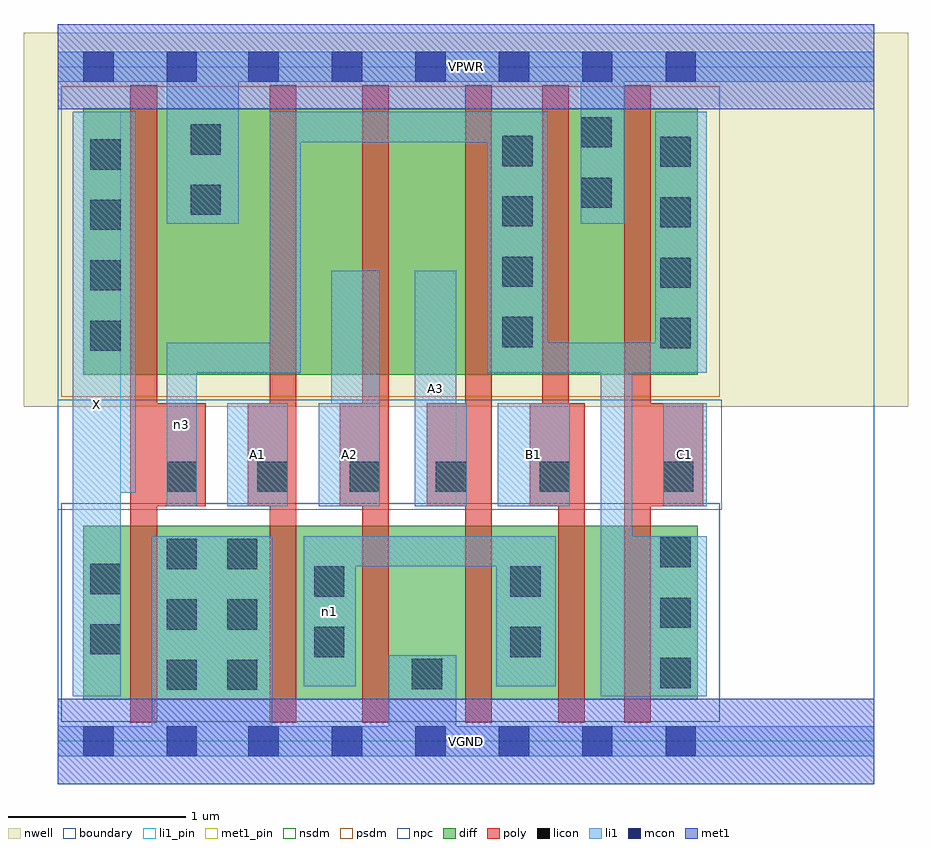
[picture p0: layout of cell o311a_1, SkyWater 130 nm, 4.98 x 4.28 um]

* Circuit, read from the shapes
.subckt o311a_1 A1 A2 A3 B1 C1 VGND VPWR X n1 n3
XM1 VGND n3 X VSUBS sky130_fd_pr__nfet_01v8 w=0.98 l=0.15
XM2 n1 A1 VGND VSUBS sky130_fd_pr__nfet_01v8 w=0.98 l=0.15
XM3 VGND A2 n1 VSUBS sky130_fd_pr__nfet_01v8 w=0.98 l=0.15
XM4 n1 A3 VGND VSUBS sky130_fd_pr__nfet_01v8 w=0.98 l=0.15
XM5 n2 B1 n1 VSUBS sky130_fd_pr__nfet_01v8 w=0.98 l=0.15
XM6 n3 C1 n2 VSUBS sky130_fd_pr__nfet_01v8 w=0.98 l=0.15
XM7 VPWR n3 X n4 sky130_fd_pr__pfet_01v8 w=1.5 l=0.15
XM8 n5 A1 VPWR n4 sky130_fd_pr__pfet_01v8 w=1.5 l=0.15
XM9 n6 A2 n5 n4 sky130_fd_pr__pfet_01v8 w=1.5 l=0.15
XM10 n3 A3 n6 n4 sky130_fd_pr__pfet_01v8 w=1.5 l=0.15
XM11 VPWR B1 n3 n4 sky130_fd_pr__pfet_01v8 w=1.5 l=0.15
XM12 n3 C1 VPWR n4 sky130_fd_pr__pfet_01v8 w=1.5 l=0.15
.ends

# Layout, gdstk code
import gdstk
lib = gdstk.Library(unit=1e-6, precision=1e-09)
def R(c, l, rs):  # rectangles x0, y0, x1, y1
    for r in rs: c.add(gdstk.rectangle(r[:2], r[2:], *l))
def A(c, l, x, y, w, h, nx, ny, dx, dy):  # array of equal rectangles
    R(c, l, [(x+i*dx, y+j*dy, x+i*dx+w, y+j*dy+h) for i in range(nx) for j in range(ny)])
nwell = (64, 20)
diff = (65, 20)
poly = (66, 20)
licon = (66, 44)
li1_pin = (67, 16)
li1 = (67, 20)
mcon = (67, 44)
met1_pin = (68, 16)
met1 = (68, 20)
nsdm = (93, 44)
psdm = (94, 20)
npc = (95, 20)
boundary = (235, 4)

o311a_1 = lib.new_cell('o311a_1')
R(o311a_1, nwell, [(-0.19,1.885,4.79,3.99), (0,1.885,4.6,3.99)])
R(o311a_1, diff, [(0.145,0.235,3.605,1.215), (0.145,2.065,3.605,3.565)])
R(o311a_1, poly, [(0.41,0.105,0.56,3.695), (1.195,0.105,1.345,3.695), (1.715,0.105,1.865,3.695), (2.295,0.105,2.445,3.695), (2.82,0.105,2.97,1.905), (3.19,0.105,3.34,3.695), (0.41,1.325,0.835,1.905), (1.07,1.325,1.345,1.905), (1.59,1.325,1.865,1.905), (2.08,1.325,2.445,1.905), (2.66,1.325,2.97,1.905), (2.73,1.325,2.88,3.695), (3.19,1.325,3.635,1.905)])
A(o311a_1, licon, 0.615, 0.29, 0.17, 0.17, 1, 3, 0, 0.34)
A(o311a_1, licon, 0.955, 0.29, 0.17, 0.17, 1, 3, 0, 0.34)
A(o311a_1, licon, 3.395, 0.3, 0.17, 0.17, 1, 3, 0, 0.34)
A(o311a_1, licon, 0.185, 2.2, 0.17, 0.17, 1, 4, 0, 0.34)
A(o311a_1, licon, 3.395, 2.215, 0.17, 0.17, 1, 4, 0, 0.34)
A(o311a_1, licon, 2.505, 2.22, 0.17, 0.17, 1, 4, 0, 0.34)
R(o311a_1, licon, [(1.995,0.295,2.165,0.465), (1.445,0.475,1.615,0.645), (2.55,0.475,2.72,0.645), (0.185,0.49,0.355,0.66), (1.445,0.815,1.615,0.985), (2.55,0.815,2.72,0.985), (0.185,0.83,0.355,1), (0.615,1.405,0.785,1.575), (1.125,1.405,1.295,1.575), (1.645,1.405,1.815,1.575), (2.13,1.405,2.3,1.575), (2.715,1.405,2.885,1.575), (3.41,1.405,3.58,1.575), (0.75,2.965,0.92,3.135), (2.95,3.005,3.12,3.175), (0.75,3.305,0.92,3.475), (2.95,3.345,3.12,3.515)])
R(o311a_1, li1_pin, [(0.085,0.255,0.355,3.545), (0.955,1.325,1.295,1.905), (1.47,1.325,1.815,1.905), (2.01,1.325,2.245,2.65), (2.48,1.325,2.885,1.905), (3.41,1.325,3.655,1.905)])
R(o311a_1, li1, [(0,-0.085,4.6,0.085), (0.53,-0.085,1.21,1.155), (1.865,-0.085,2.245,0.485), (0.085,0.255,0.355,3.545), (3.06,0.255,3.655,1.155), (3.06,0.255,3.235,2.245), (1.385,0.31,1.68,1.155), (2.47,0.31,2.805,1.155), (1.385,0.985,2.805,1.155), (0.615,1.325,0.785,2.245), (0.955,1.325,1.295,1.905), (1.47,1.325,1.815,1.905), (1.54,1.325,1.815,2.65), (2.01,1.325,2.245,2.65), (2.01,1.325,2.305,1.905), (2.48,1.325,2.885,1.905), (3.41,1.325,3.655,1.905), (0.085,1.4,0.44,3.545), (0.615,2.075,1.37,2.245), (1.195,2.075,1.37,3.545), (2.42,2.075,2.76,3.545), (2.42,2.075,3.655,2.245), (3.365,2.075,3.655,3.545), (0.615,2.915,1.02,3.885), (2.945,2.915,3.19,3.885), (1.195,3.375,2.76,3.545), (0,3.715,4.6,3.885)])
A(o311a_1, mcon, 1.075, -0.085, 0.17, 0.17, 6, 2, 0.47, 3.8)
R(o311a_1, mcon, [(0.145,-0.085,0.315,0.085), (0.615,-0.085,0.785,0.085), (0.145,3.715,0.315,3.885), (0.615,3.715,0.785,3.885)])
R(o311a_1, met1_pin, [(0,-0.24,4.6,0.24), (0,3.56,4.6,4.04)])
R(o311a_1, met1, [(0,-0.24,4.6,0.24), (0,3.56,4.6,4.04)])
R(o311a_1, nsdm, [(0.02,0.11,3.73,1.34)])
R(o311a_1, psdm, [(0.02,1.94,3.73,3.69)])
R(o311a_1, npc, [(0,1.305,3.74,1.925)])
R(o311a_1, boundary, [(0,0,4.6,3.8)])
o311a_1.add(gdstk.Label('A1', (1.125,1.615), layer=67, texttype=5))
o311a_1.add(gdstk.Label('A2', (1.642,1.615), layer=67, texttype=5))
o311a_1.add(gdstk.Label('A3', (2.127,1.987), layer=67, texttype=5))
o311a_1.add(gdstk.Label('B1', (2.682,1.615), layer=67, texttype=5))
o311a_1.add(gdstk.Label('C1', (3.532,1.615), layer=67, texttype=5))
o311a_1.add(gdstk.Label('X', (0.22,1.9), layer=67, texttype=5))
o311a_1.add(gdstk.Label('n1', (1.532,0.732), layer=67, texttype=5))
o311a_1.add(gdstk.Label('n3', (0.7,1.785), layer=67, texttype=5))
o311a_1.add(gdstk.Label('VPWR', (2.3,3.8), layer=68, texttype=5))
o311a_1.add(gdstk.Label('VGND', (2.3,0), layer=68, texttype=5))
o311a_1.add(gdstk.Label('A1', (1.125,1.615), layer=67, texttype=16))
o311a_1.add(gdstk.Label('A2', (1.642,1.615), layer=67, texttype=16))
o311a_1.add(gdstk.Label('A3', (2.127,1.987), layer=67, texttype=16))
o311a_1.add(gdstk.Label('B1', (2.682,1.615), layer=67, texttype=16))
o311a_1.add(gdstk.Label('C1', (3.532,1.615), layer=67, texttype=16))
o311a_1.add(gdstk.Label('X', (0.22,1.9), layer=67, texttype=16))
o311a_1.add(gdstk.Label('VPWR', (2.3,3.8), layer=68, texttype=16))
o311a_1.add(gdstk.Label('VGND', (2.3,0), layer=68, texttype=16))

lib.write_gds('o311a_1.gds')
